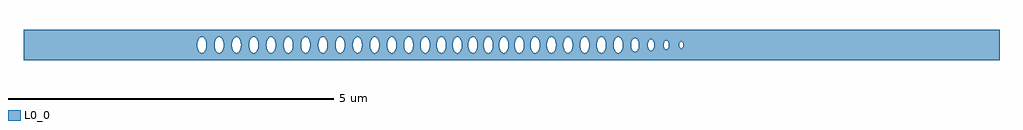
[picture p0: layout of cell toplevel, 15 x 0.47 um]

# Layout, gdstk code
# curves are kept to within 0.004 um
import gdstk
lib = gdstk.Library(unit=1e-6, precision=1e-09)
def P(c, l, *ps):  # polygons
    for p in ps: c.add(gdstk.Polygon(p, *l))
L0_0 = (0, 0)

toplevel = lib.new_cell('toplevel')
P(toplevel, L0_0, [(-4.297,0.016),(-4.293,0.046),(-4.276,0.09),(-4.276,0.235),(-7.5,0.235),(-7.5,-0.016),(-4.829,-0.016),(-4.825,0.046),(-4.816,0.073),(-4.793,0.109),(-4.763,0.124),(-4.737,0.118),(-4.714,0.096),(-4.693,0.046),(-4.689,-0.008),(-4.564,-0.008),(-4.562,0.031),(-4.548,0.079),(-4.527,0.109),(-4.498,0.124),(-4.472,0.118),(-4.448,0.096),(-4.436,0.073),(-4.423,0.016),(-4.426,-0.038),(-4.436,-0.073),(-4.459,-0.109),(-4.489,-0.124),(-4.515,-0.118),(-4.542,-0.09),(-4.559,-0.046),(-4.564,-0.008),(-4.689,-0.008),(-4.693,-0.046),(-4.714,-0.096),(-4.737,-0.118),(-4.755,-0.124),(-4.781,-0.118),(-4.804,-0.096),(-4.821,-0.06),(-4.829,-0.016),(-7.5,-0.016),(-7.5,-0.235),(-4.276,-0.235),(-4.276,-0.09),(-4.295,-0.038)],
  [(-3.766,0.016),(-3.758,0.06),(-3.741,0.096),(-3.718,0.118),(-3.692,0.124),(-3.692,0.235),(-4.276,0.235),(-4.276,0.09),(-4.262,0.109),(-4.241,0.122),(-4.214,0.122),(-4.194,0.109),(-4.166,0.06),(-4.158,0.023),(-4.158,-0.016),(-4.032,-0.016),(-4.029,0.038),(-4.019,0.073),(-3.996,0.109),(-3.966,0.124),(-3.94,0.118),(-3.91,0.085),(-3.896,0.046),(-3.891,0),(-3.896,-0.046),(-3.91,-0.085),(-3.928,-0.109),(-3.957,-0.124),(-3.984,-0.118),(-4.007,-0.096),(-4.024,-0.06),(-4.032,-0.016),(-4.158,-0.016),(-4.173,-0.079),(-4.206,-0.118),(-4.223,-0.124),(-4.241,-0.122),(-4.262,-0.109),(-4.276,-0.09),(-4.276,-0.235),(-3.692,-0.235),(-3.692,-0.124),(-3.718,-0.118),(-3.748,-0.085),(-3.762,-0.046)],
  [(-3.692,0.235),(-3.692,0.124),(-3.662,0.109),(-3.645,0.085),(-3.632,0.053),(-3.626,-0.008),(-3.501,-0.008),(-3.499,0.031),(-3.485,0.079),(-3.464,0.109),(-3.435,0.124),(-3.404,0.115),(-3.382,0.09),(-3.365,0.046),(-3.36,0.008),(-3.363,-0.038),(-3.373,-0.073),(-3.396,-0.109),(-3.426,-0.124),(-3.452,-0.118),(-3.479,-0.09),(-3.496,-0.046),(-3.501,-0.008),(-3.626,-0.008),(-3.632,-0.053),(-3.651,-0.096),(-3.674,-0.118),(-3.692,-0.124),(-3.692,-0.235),(-3.108,-0.235),(-3.108,-0.073),(-3.123,-0.1),(-3.143,-0.118),(-3.16,-0.124),(-3.178,-0.122),(-3.199,-0.109),(-3.216,-0.085),(-3.235,-0.016),(-3.232,0.038),(-3.222,0.073),(-3.21,0.096),(-3.191,0.115),(-3.169,0.124),(-3.143,0.118),(-3.123,0.1),(-3.108,0.073),(-3.108,0.235)],
  [(-2.438,-0.008),(-2.437,0.235),(-3.108,0.235),(-3.108,0.072),(-3.096,0.031),(-3.095,-0.016),(-2.969,-0.016),(-2.965,0.046),(-2.956,0.073),(-2.933,0.109),(-2.903,0.124),(-2.877,0.118),(-2.854,0.096),(-2.833,0.046),(-2.829,-0.008),(-2.704,-0.008),(-2.702,0.031),(-2.688,0.079),(-2.667,0.109),(-2.638,0.124),(-2.612,0.118),(-2.588,0.096),(-2.576,0.073),(-2.563,0.016),(-2.566,-0.038),(-2.576,-0.073),(-2.599,-0.109),(-2.629,-0.124),(-2.655,-0.118),(-2.682,-0.09),(-2.699,-0.046),(-2.704,-0.008),(-2.829,-0.008),(-2.833,-0.046),(-2.854,-0.096),(-2.877,-0.118),(-2.895,-0.124),(-2.921,-0.118),(-2.944,-0.096),(-2.961,-0.06),(-2.969,-0.016),(-3.095,-0.016),(-3.108,-0.073),(-3.108,-0.235),(-2.437,-0.235)],
  [(-2.435,0.038),(-2.425,0.073),(-2.402,0.109),(-2.381,0.122),(-2.363,0.124),(-2.334,0.109),(-2.316,0.085),(-2.302,0.046),(-2.297,-0.008),(-2.173,-0.008),(-2.168,0.046),(-2.154,0.085),(-2.124,0.118),(-2.098,0.124),(-2.072,0.112),(-2.051,0.085),(-2.035,0.038),(-2.032,-0.008),(-2.035,-0.038),(-2.051,-0.085),(-2.072,-0.112),(-2.098,-0.124),(-2.124,-0.118),(-2.151,-0.09),(-2.168,-0.046),(-2.173,-0.008),(-2.297,-0.008),(-2.302,-0.046),(-2.316,-0.085),(-2.334,-0.109),(-2.363,-0.124),(-2.389,-0.118),(-2.409,-0.1),(-2.425,-0.073),(-2.437,-0.026),(-2.437,-0.235),(-1.877,-0.235),(-1.877,-0.105),(-1.897,-0.073),(-1.91,-0.008),(-1.901,0.06),(-1.877,0.105),(-1.877,0.235),(-2.437,0.235)],
  [(-1.396,0.016),(-1.384,0.073),(-1.357,0.112),(-1.322,0.124),(-1.293,0.109),(-1.293,0.235),(-1.877,0.235),(-1.877,0.105),(-1.844,0.124),(-1.826,0.122),(-1.802,0.105),(-1.785,0.079),(-1.774,0.046),(-1.77,-0.016),(-1.651,-0.016),(-1.648,0.038),(-1.638,0.073),(-1.615,0.109),(-1.585,0.124),(-1.559,0.118),(-1.532,0.09),(-1.515,0.046),(-1.51,0.008),(-1.512,-0.031),(-1.526,-0.079),(-1.547,-0.109),(-1.576,-0.124),(-1.602,-0.118),(-1.626,-0.096),(-1.638,-0.073),(-1.651,-0.016),(-1.77,-0.016),(-1.785,-0.079),(-1.806,-0.109),(-1.826,-0.122),(-1.844,-0.124),(-1.877,-0.105),(-1.877,-0.235),(-1.293,-0.235),(-1.293,-0.109),(-1.313,-0.122),(-1.331,-0.124),(-1.364,-0.105),(-1.384,-0.073),(-1.392,-0.046)],
  [(-1.293,0.235),(-1.293,0.109),(-1.265,0.06),(-1.257,0.023),(-1.257,-0.016),(-1.148,-0.016),(-1.145,0.038),(-1.135,0.073),(-1.112,0.109),(-1.082,0.124),(-1.056,0.118),(-1.029,0.09),(-1.012,0.046),(-1.007,0.008),(-1.009,-0.031),(-1.023,-0.079),(-1.044,-0.109),(-1.073,-0.124),(-1.099,-0.118),(-1.123,-0.096),(-1.135,-0.073),(-1.148,-0.016),(-1.257,-0.016),(-1.272,-0.079),(-1.293,-0.109),(-1.293,-0.235),(-0.765,-0.235),(-0.765,-0.031),(-0.779,-0.079),(-0.792,-0.1),(-0.812,-0.118),(-0.838,-0.124),(-0.86,-0.115),(-0.879,-0.096),(-0.891,-0.073),(-0.904,-0.016),(-0.901,0.038),(-0.891,0.073),(-0.868,0.109),(-0.847,0.122),(-0.821,0.122),(-0.796,0.105),(-0.779,0.079),(-0.765,0.031),(-0.765,0.235)],
  [(-0.765,-0.235),(-0.178,-0.235),(-0.178,-0.066),(-0.189,-0.016),(-0.187,0.031),(-0.178,0.065),(-0.178,0.235),(-0.765,0.235),(-0.764,-0.016),(-0.664,-0.016),(-0.661,0.038),(-0.651,0.073),(-0.628,0.109),(-0.598,0.124),(-0.572,0.118),(-0.542,0.085),(-0.525,0.031),(-0.524,-0.016),(-0.426,-0.016),(-0.423,0.038),(-0.413,0.073),(-0.39,0.109),(-0.36,0.124),(-0.334,0.118),(-0.304,0.085),(-0.29,0.046),(-0.285,0),(-0.29,-0.046),(-0.304,-0.085),(-0.322,-0.109),(-0.351,-0.124),(-0.378,-0.118),(-0.401,-0.096),(-0.418,-0.06),(-0.426,-0.016),(-0.524,-0.016),(-0.528,-0.046),(-0.545,-0.09),(-0.56,-0.109),(-0.589,-0.124),(-0.615,-0.118),(-0.639,-0.096),(-0.651,-0.073),(-0.664,-0.016),(-0.764,-0.016)],
  [(0.294,0.016),(0.312,0.085),(0.33,0.109),(0.35,0.122),(0.35,0.235),(-0.178,0.235),(-0.178,0.066),(-0.153,0.109),(-0.132,0.122),(-0.105,0.122),(-0.081,0.105),(-0.064,0.079),(-0.05,0.031),(-0.049,-0.016),(0.05,-0.016),(0.053,0.038),(0.069,0.085),(0.098,0.118),(0.125,0.124),(0.154,0.109),(0.171,0.085),(0.186,0.046),(0.191,0),(0.186,-0.046),(0.171,-0.085),(0.154,-0.109),(0.125,-0.124),(0.098,-0.118),(0.075,-0.096),(0.058,-0.06),(0.05,-0.016),(-0.049,-0.016),(-0.067,-0.085),(-0.085,-0.109),(-0.105,-0.122),(-0.132,-0.122),(-0.153,-0.109),(-0.178,-0.067),(-0.178,-0.235),(0.35,-0.235),(0.35,-0.122),(0.326,-0.105),(0.309,-0.079),(0.295,-0.031)],
  [(0.799,0.016),(0.814,0.079),(0.847,0.118),(0.864,0.124),(0.882,0.122),(0.914,0.096),(0.914,0.235),(0.35,0.235),(0.35,0.122),(0.377,0.122),(0.409,0.096),(0.431,0.038),(0.434,-0.008),(0.543,-0.008),(0.545,0.031),(0.559,0.079),(0.58,0.109),(0.609,0.124),(0.636,0.118),(0.659,0.096),(0.671,0.073),(0.684,0.016),(0.681,-0.038),(0.671,-0.073),(0.648,-0.109),(0.618,-0.124),(0.592,-0.118),(0.569,-0.096),(0.552,-0.06),(0.543,-0.008),(0.434,-0.008),(0.429,-0.046),(0.409,-0.096),(0.377,-0.122),(0.35,-0.122),(0.35,-0.235),(0.914,-0.235),(0.914,-0.096),(0.895,-0.115),(0.873,-0.124),(0.855,-0.122),(0.835,-0.109),(0.807,-0.06),(0.799,-0.023)],
  [(1.312,0.016),(1.316,0.046),(1.333,0.09),(1.351,0.112),(1.377,0.124),(1.403,0.118),(1.426,0.096),(1.441,0.066),(1.451,0.023),(1.451,0.235),(0.914,0.235),(0.914,0.096),(0.936,0.038),(0.939,-0.016),(1.055,-0.016),(1.058,0.038),(1.068,0.073),(1.091,0.109),(1.121,0.124),(1.147,0.118),(1.17,0.096),(1.191,0.046),(1.196,0),(1.191,-0.046),(1.176,-0.085),(1.159,-0.109),(1.129,-0.124),(1.103,-0.118),(1.08,-0.096),(1.063,-0.06),(1.055,-0.016),(0.939,-0.016),(0.926,-0.073),(0.914,-0.096),(0.914,-0.235),(1.451,-0.235),(1.451,-0.026),(1.436,-0.079),(1.419,-0.105),(1.395,-0.122),(1.368,-0.122),(1.344,-0.105),(1.324,-0.073),(1.313,-0.031)],
  [(1.451,-0.235),(2.128,-0.235),(2.128,-0.085),(2.104,-0.057),(2.093,-0.011),(2.102,0.052),(2.128,0.085),(2.128,0.235),(1.451,0.235),(1.452,-0.008),(1.57,-0.008),(1.573,0.038),(1.586,0.079),(1.607,0.109),(1.636,0.124),(1.671,0.112),(1.692,0.085),(1.708,0.038),(1.71,-0.013),(1.837,-0.013),(1.848,0.063),(1.871,0.096),(1.897,0.107),(1.92,0.099),(1.939,0.078),(1.954,0.039),(1.958,0.007),(1.954,-0.039),(1.944,-0.068),(1.93,-0.09),(1.909,-0.105),(1.886,-0.105),(1.865,-0.09),(1.848,-0.063),(1.837,-0.013),(1.71,-0.013),(1.708,-0.038),(1.692,-0.085),(1.671,-0.112),(1.645,-0.124),(1.619,-0.118),(1.592,-0.09),(1.575,-0.046),(1.57,-0.008),(1.452,-0.008)],
  [(2.134,0.088),(2.153,0.088),(2.176,0.069),(2.188,0.043),(2.194,-0.009),(2.338,-0.009),(2.347,0.046),(2.361,0.065),(2.376,0.072),(2.394,0.067),(2.407,0.052),(2.416,0.031),(2.419,-0.003),(2.576,-0.003),(2.587,0.042),(2.599,0.053),(2.611,0.054),(2.631,0.035),(2.638,-0.007),(2.627,-0.042),(2.617,-0.052),(2.603,-0.054),(2.583,-0.035),(2.576,-0.003),(2.419,-0.003),(2.407,-0.052),(2.381,-0.072),(2.357,-0.061),(2.344,-0.038),(2.338,-0.009),(2.194,-0.009),(2.188,-0.043),(2.176,-0.069),(2.153,-0.088),(2.128,-0.085),(2.128,-0.235),(7.5,-0.235),(7.5,0.235),(2.128,0.235),(2.128,0.085)])

lib.write_gds('toplevel.gds')
